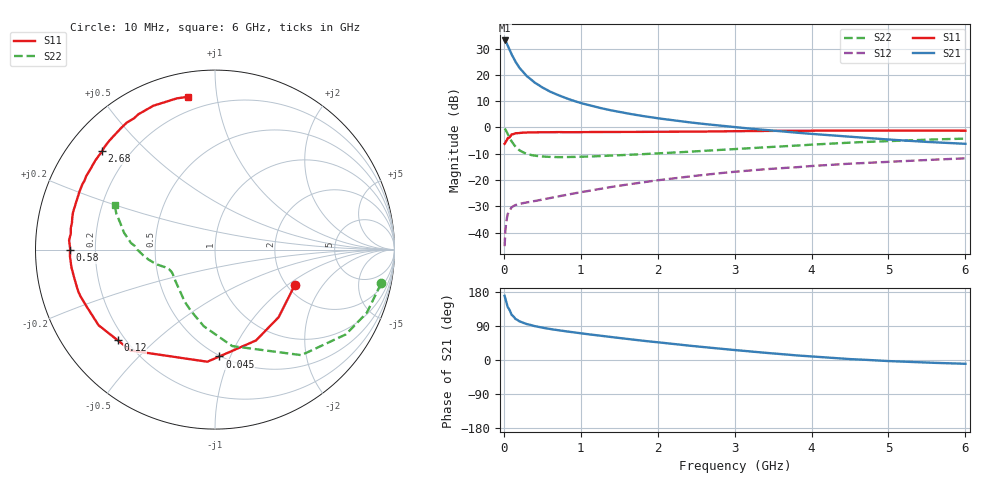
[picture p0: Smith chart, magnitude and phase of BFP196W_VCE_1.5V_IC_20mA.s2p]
! Infineon Technologies  Discrete & RF Semiconductors
! BFP196W
! VCE = 1.5 V,  IC =  20mA
! Common Emitter S-Parameters:  Jan 2016
# GHz  S  MA  R  50
!  f  S11  S21  S12  S22
! GHz  MAG  ANG  MAG  ANG  MAG  ANG  MAG  ANG
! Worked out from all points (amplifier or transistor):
!   210 points, 10 MHz to 6 GHz, reference 50 ohm
!   highest |S21| = 33.1 dB at 10 MHz (marker M1)
!   |S21| within 3 dB of that: start of sweep to 67.18 MHz
!   unconditionally stable (mu >= 1): 852.2 MHz to 3.374 GHz
!   at 185 MHz: K = 0.34, MSG = 26.4 dB, |S12| = -29.3 dB
!   at 1.52 GHz: K = 1.15, MAG = 11.6 dB, |S12| = -22.1 dB
!   at 6 GHz: K = 0.96, MSG = 2.8 dB, |S12| = -11.8 dB
!   S11 on the Smith chart (normalised r, x): 10 MHz: 2.19, -1.14; 45 MHz: 0.49, -0.91; 120 MHz: 0.17, -0.38; 580 MHz: 0.11, -0.00; 2.68 GHz: 0.10, +0.37; 6 GHz: 0.12, +0.83
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0.01  0.4863 -24.2  45.02 169.3  0.0055 79.8  0.9446 -11.5
0.02  0.5172 -46.7  44.26 161.7  0.0109 72.9  0.9161 -22.6
0.03  0.5554 -65.7  42 153.6  0.0153 66.0  0.8691 -32.9
0.045  0.5956 -87.6  37.49 143.6  0.0206 56.5  0.7796 -45.8
0.05  0.6262 -93.9  36.28 139.8  0.0224 54.3  0.7598 -50.7
0.1  0.7326 -129.9  24.58 119.5  0.0302 38.1  0.5458 -79.9
0.12  0.7409 -137.0  21.79 116.0  0.0314 35.5  0.4943 -86.2
0.15  0.7736 -147.0  17.84 108.6  0.0333 32.0  0.4316 -98.3
0.2  0.7825 -156.1  13.75 102.3  0.0348 30.9  0.3687 -110.9
0.24  0.7934 -160.9  11.73 98.9  0.036 30.4  0.3425 -118.0
0.3  0.7985 -166.7  9.388 94.7  0.0373 30.7  0.3105 -127.1
0.4  0.8058 -172.9  7.123 89.4  0.0398 32.7  0.2897 -136.6
0.58  0.8076 -179.9  4.983 82.6  0.0446 37.6  0.2749 -146.6
0.8  0.8084 173.7  3.621 75.8  0.0516 42.9  0.2721 -152.7
1.02  0.8118 168.9  2.853 70.0  0.0591 46.4  0.2765 -156.1
1.4  0.8177 161.2  2.101 60.3  0.0736 50.3  0.2901 -159.6
2.02  0.8263 150.1  1.478 46.3  0.0995 52.0  0.3202 -164.1
2.68  0.835 139.0  1.129 32.4  0.1284 50.0  0.3634 -170.0
3.1  0.8475 132.3  0.978 24.5  0.1473 47.5  0.3948 -174.6
4.1  0.8667 118.2  0.735 8.1  0.188 40.6  0.4783 174.2
5.1  0.8675 107.4  0.575 -3.6  0.2249 33.0  0.5559 163.3
6  0.8648 100.0  0.487 -10.0  0.2578 26.6  0.611 156.1
